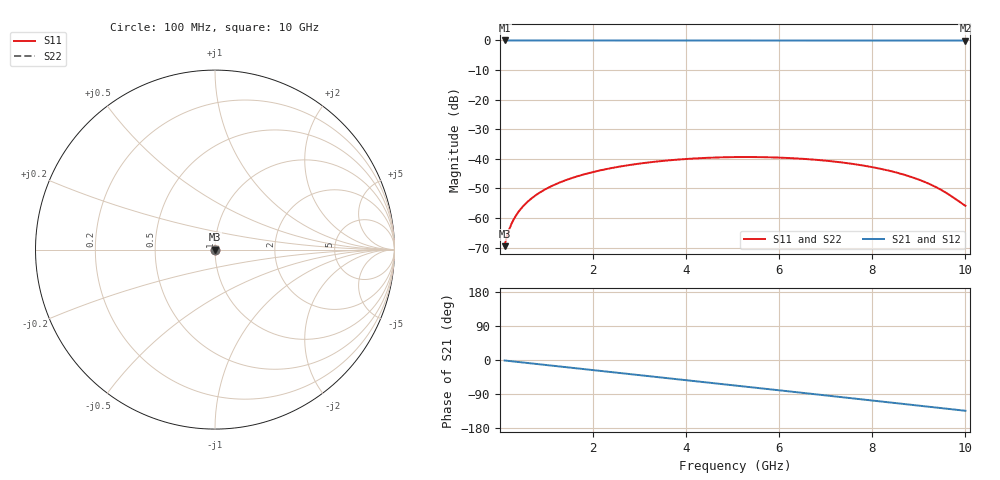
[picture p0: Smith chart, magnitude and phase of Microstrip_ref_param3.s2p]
! Sonnet Data File
! From: em Version : 18.58
! From Project: Microstrip_ref
! Data is De-embedded
! Data File Written: 05/20/2025 14:19:08
!< HDATE 12/30/2024 21:26:45
!< MDATE 12/30/2024 21:26:45
!< PARAMS
!< w = 230.0
!< END PARAMS
# GHZ S MA R 50.00000
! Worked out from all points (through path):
!   397 points, 100 MHz to 10 GHz, reference 50 ohm
!   highest |S21| = 0.00 dB at 100 MHz (marker M1); lowest = 0.0 dB at 10 GHz (marker M2)
!   group delay of S21, straight-line fit = 37.2 ps
!   lowest |S11| = -69.5 dB at 100 MHz (marker M3), VSWR 1.00, Z = 50 + j0.0316 ohm
!   |S11| at or under -10 dB: start of sweep to end of sweep
!   |S22| runs from -69.5 to -39.4 dB; largest |S21 - S12| = 1.2e-12
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0.1  0.0003338 108.8  0.9999 -1.3  0.9999 -1.3  0.0003338 108.8
0.125  0.0004114 106.1  0.9999 -1.7  0.9999 -1.7  0.0004113 106.2
0.175  0.0005676 102.7  0.9999 -2.3  0.9999 -2.3  0.0005673 102.8
0.275  0.0008814 98.8  0.9998 -3.7  0.9998 -3.7  0.0008809 98.9
0.4  0.001274 95.8  0.9998 -5.3  0.9998 -5.3  0.001273 95.8
0.575  0.00182 92.5  0.9997 -7.6  0.9997 -7.6  0.00182 92.5
0.8  0.002517 88.9  0.9996 -10.6  0.9996 -10.6  0.002517 88.9
1.05  0.003278 85.2  0.9995 -13.9  0.9995 -13.9  0.003278 85.2
1.375  0.004241 80.6  0.9993 -18.3  0.9993 -18.3  0.004241 80.6
1.75  0.005303 75.5  0.9992 -23.2  0.9992 -23.2  0.005303 75.5
2.5  0.007218 65.5  0.9988 -33.2  0.9988 -33.2  0.00722 65.5
3.4  0.00905 53.7  0.9984 -45.2  0.9984 -45.2  0.009054 53.7
4.25  0.0102 42.7  0.998 -56.5  0.998 -56.5  0.01021 42.7
5.05  0.0107 32.4  0.9976 -67.2  0.9976 -67.2  0.01069 32.4
5.875  0.01055 22.1  0.9973 -78.3  0.9973 -78.3  0.01055 22.1
6.7  0.009748 12.2  0.9969 -89.3  0.9969 -89.3  0.009748 12.2
7.575  0.008206 2.5  0.9965 -101.1  0.9965 -101.1  0.008206 2.5
8.35  0.00632 -4.6  0.9962 -111.6  0.9962 -111.6  0.00632 -4.6
8.825  0.004971 -7.3  0.996 -118.0  0.996 -118.0  0.004971 -7.3
9.25  0.003684 -6.9  0.9958 -123.8  0.9958 -123.8  0.003683 -6.9
9.575  0.002695 -2.2  0.9956 -128.2  0.9956 -128.2  0.002694 -2.2
10  0.001608 21.4  0.9954 -134.0  0.9954 -134.0  0.001608 21.4
